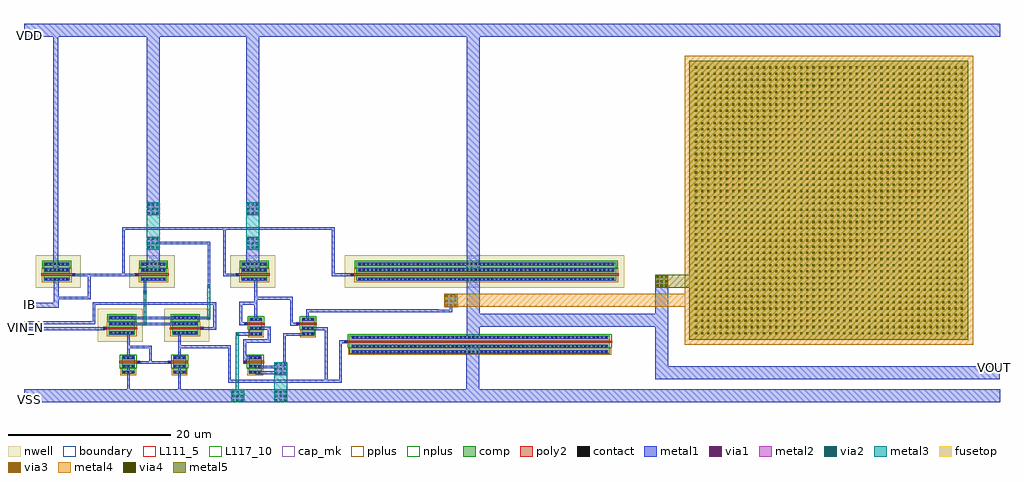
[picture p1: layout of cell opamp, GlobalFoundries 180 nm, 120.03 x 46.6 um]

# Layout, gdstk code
from math import pi, radians
import gdstk
lib = gdstk.Library(unit=1e-6, precision=1e-09)
def R(c, l, rs):  # rectangles x0, y0, x1, y1
    for r in rs: c.add(gdstk.rectangle(r[:2], r[2:], *l))
def A(c, l, x, y, w, h, nx, ny, dx, dy):  # array of equal rectangles
    R(c, l, [(x+i*dx, y+j*dy, x+i*dx+w, y+j*dy+h) for i in range(nx) for j in range(ny)])
def P(c, l, *ps):  # polygons
    for p in ps: c.add(gdstk.Polygon(p, *l))
boundary = (0, 0)
nwell = (21, 0)
comp = (22, 0)
poly2 = (30, 0)
pplus = (31, 0)
nplus = (32, 0)
contact = (33, 0)
metal1 = (34, 0)
via1 = (35, 0)
metal2 = (36, 0)
via2 = (38, 0)
via3 = (40, 0)
via4 = (41, 0)
metal3 = (42, 0)
metal4 = (46, 0)
fusetop = (75, 0)
metal5 = (81, 0)
L111_5 = (111, 5)
cap_mk = (117, 5)
L117_10 = (117, 10)

cap_mim = lib.new_cell('cap_mim')
A(cap_mim, via4, 0.69, 0.69, 0.26, 0.26, 44, 44, 0.76, 0.76)
R(cap_mim, metal4, [(-0.6,-0.6,34.92,34.92)])
R(cap_mim, fusetop, [(0,0,34.32,34.32)])
R(cap_mim, metal5, [(0,0,34.32,34.32)])
R(cap_mim, cap_mk, [(-0.6,-0.6,34.92,34.92)])
R(cap_mim, L117_10, [(0,0,34.32,0.1)])

nfet_8 = lib.new_cell('nfet$8')
R(nfet_8, comp, [(-0.42,0,1.79,1.6)])
P(nfet_8, poly2, [(0.19,-0.3),(0.19,1.9),(0.15,1.9),(0.15,2.26),(0.51,2.26),(0.51,1.9),(0.47,1.9),(0.47,-0.3)])
R(nfet_8, pplus, [(1.08,-0.17,1.96,1.77)])
R(nfet_8, nplus, [(-0.59,-0.24,1.08,1.84)])
A(nfet_8, contact, -0.32, 0.18, 0.22, 0.22, 1, 3, 0, 0.51)
A(nfet_8, contact, 0.76, 0.18, 0.22, 0.22, 1, 3, 0, 0.51)
A(nfet_8, contact, 1.47, 0.18, 0.22, 0.22, 1, 3, 0, 0.51)
R(nfet_8, contact, [(0.22,1.97,0.44,2.19)])
R(nfet_8, metal1, [(-0.4,0.1,-0.02,1.5), (0.68,0.1,1.06,1.5), (1.39,0.1,1.77,1.5), (0.14,1.89,0.52,2.27)])

nfet_9 = lib.new_cell('nfet$9')
R(nfet_9, comp, [(-0.42,0,1.79,1.6)])
P(nfet_9, poly2, [(0.15,-0.66),(0.15,-0.3),(0.19,-0.3),(0.19,1.9),(0.47,1.9),(0.47,-0.3),(0.51,-0.3),(0.51,-0.66)])
R(nfet_9, pplus, [(1.08,-0.17,1.96,1.77)])
R(nfet_9, nplus, [(-0.59,-0.24,1.08,1.84)])
A(nfet_9, contact, -0.32, 0.18, 0.22, 0.22, 1, 3, 0, 0.51)
A(nfet_9, contact, 0.76, 0.18, 0.22, 0.22, 1, 3, 0, 0.51)
A(nfet_9, contact, 1.47, 0.18, 0.22, 0.22, 1, 3, 0, 0.51)
R(nfet_9, contact, [(0.22,-0.59,0.44,-0.37)])
R(nfet_9, metal1, [(0.14,-0.67,0.52,-0.29), (-0.4,0.1,-0.02,1.5), (0.68,0.1,1.06,1.5), (1.39,0.1,1.77,1.5)])

pfet_11 = lib.new_cell('pfet$11')
R(pfet_11, nwell, [(-1.32,-0.99,2.71,4.57)])
R(pfet_11, comp, [(-0.46,0,1.85,3.2)])
P(pfet_11, poly2, [(0.19,-0.3),(0.19,3.5),(0.14,3.5),(0.14,3.88),(0.52,3.88),(0.52,3.5),(0.47,3.5),(0.47,-0.3)])
R(pfet_11, pplus, [(-0.63,-0.24,1.12,3.44)])
R(pfet_11, nplus, [(1.12,-0.17,2.02,3.37)])
A(pfet_11, contact, -0.34, 0.215, 0.22, 0.22, 1, 6, 0, 0.51)
A(pfet_11, contact, 0.78, 0.215, 0.22, 0.22, 1, 6, 0, 0.51)
A(pfet_11, contact, 1.51, 0.215, 0.22, 0.22, 1, 6, 0, 0.51)
R(pfet_11, contact, [(0.22,3.58,0.44,3.8)])
R(pfet_11, metal1, [(-0.42,0.135,-0.04,3.065), (0.7,0.135,1.08,3.065), (1.43,0.135,1.81,3.065), (0.14,3.5,0.52,3.88)])

pfet_12 = lib.new_cell('pfet$12')
R(pfet_12, nwell, [(-1.32,-1.37,2.71,4.19)])
R(pfet_12, comp, [(-0.46,0,1.85,3.2)])
P(pfet_12, poly2, [(0.14,-0.68),(0.14,-0.3),(0.19,-0.3),(0.19,3.5),(0.47,3.5),(0.47,-0.3),(0.52,-0.3),(0.52,-0.68)])
R(pfet_12, pplus, [(-0.63,-0.24,1.12,3.44)])
R(pfet_12, nplus, [(1.12,-0.17,2.02,3.37)])
A(pfet_12, contact, -0.34, 0.215, 0.22, 0.22, 1, 6, 0, 0.51)
A(pfet_12, contact, 0.78, 0.215, 0.22, 0.22, 1, 6, 0, 0.51)
A(pfet_12, contact, 1.51, 0.215, 0.22, 0.22, 1, 6, 0, 0.51)
R(pfet_12, contact, [(0.22,-0.6,0.44,-0.38)])
R(pfet_12, metal1, [(0.14,-0.68,0.52,-0.3), (-0.42,0.135,-0.04,3.065), (0.7,0.135,1.08,3.065), (1.43,0.135,1.81,3.065)])

nfet_10 = lib.new_cell('nfet$10')
R(nfet_10, comp, [(-0.42,0,1.79,32)])
P(nfet_10, poly2, [(0.15,-0.66),(0.15,-0.3),(0.19,-0.3),(0.19,32.3),(0.47,32.3),(0.47,-0.3),(0.51,-0.3),(0.51,-0.66)])
R(nfet_10, pplus, [(1.08,-0.17,1.96,32.17)])
R(nfet_10, nplus, [(-0.59,-0.24,1.08,32.24)])
A(nfet_10, contact, -0.32, 0.335, 0.22, 0.22, 1, 62, 0, 0.51)
A(nfet_10, contact, 0.76, 0.335, 0.22, 0.22, 1, 62, 0, 0.51)
A(nfet_10, contact, 1.47, 0.335, 0.22, 0.22, 1, 62, 0, 0.51)
R(nfet_10, contact, [(0.22,-0.59,0.44,-0.37)])
R(nfet_10, metal1, [(0.14,-0.67,0.52,-0.29), (-0.4,0.255,-0.02,31.745), (0.68,0.255,1.06,31.745), (1.39,0.255,1.77,31.745)])

pfet_13 = lib.new_cell('pfet$13')
R(pfet_13, nwell, [(-1.32,-0.99,2.71,33.37)])
R(pfet_13, comp, [(-0.46,0,1.85,32)])
P(pfet_13, poly2, [(0.19,-0.3),(0.19,32.3),(0.14,32.3),(0.14,32.68),(0.52,32.68),(0.52,32.3),(0.47,32.3),(0.47,-0.3)])
R(pfet_13, pplus, [(-0.63,-0.24,1.12,32.24)])
R(pfet_13, nplus, [(1.12,-0.17,2.02,32.17)])
A(pfet_13, contact, -0.34, 0.335, 0.22, 0.22, 1, 62, 0, 0.51)
A(pfet_13, contact, 0.78, 0.335, 0.22, 0.22, 1, 62, 0, 0.51)
A(pfet_13, contact, 1.51, 0.335, 0.22, 0.22, 1, 62, 0, 0.51)
R(pfet_13, contact, [(0.22,32.38,0.44,32.6)])
R(pfet_13, metal1, [(-0.42,0.255,-0.04,31.745), (0.7,0.255,1.08,31.745), (1.43,0.255,1.81,31.745), (0.14,32.3,0.52,32.68)])

via_dev_2 = lib.new_cell('via_dev$2')
R(via_dev_2, metal1, [(0,0,0.4,0.4)])
R(via_dev_2, via1, [(0.07,0.07,0.33,0.33)])
R(via_dev_2, metal2, [(0,0,0.4,0.4)])
R(via_dev_2, via2, [(0.07,0.07,0.33,0.33)])
R(via_dev_2, metal3, [(0,0,0.4,0.4)])

via_dev_3 = lib.new_cell('via_dev$3')
R(via_dev_3, metal1, [(0,0,1.6,1.6)])
A(via_dev_3, via1, 0.14, 0.14, 0.26, 0.26, 3, 3, 0.53, 0.53)
R(via_dev_3, metal2, [(0,0,1.6,1.6)])
A(via_dev_3, via2, 0.14, 0.14, 0.26, 0.26, 3, 3, 0.53, 0.53)
R(via_dev_3, metal3, [(0,0,1.6,1.6)])

via_dev_7 = lib.new_cell('via_dev$7')
R(via_dev_7, metal1, [(0,0,1.6,1.6)])
A(via_dev_7, via1, 0.14, 0.14, 0.26, 0.26, 3, 3, 0.53, 0.53)
R(via_dev_7, metal2, [(0,0,1.6,1.6)])
A(via_dev_7, via2, 0.14, 0.14, 0.26, 0.26, 3, 3, 0.53, 0.53)
A(via_dev_7, via3, 0.14, 0.14, 0.26, 0.26, 3, 3, 0.53, 0.53)
R(via_dev_7, metal3, [(0,0,1.6,1.6)])
R(via_dev_7, metal4, [(0,0,1.6,1.6)])

via_dev_8 = lib.new_cell('via_dev$8')
R(via_dev_8, metal1, [(0,0,1.6,1.6)])
A(via_dev_8, via1, 0.14, 0.14, 0.26, 0.26, 3, 3, 0.53, 0.53)
R(via_dev_8, metal2, [(0,0,1.6,1.6)])
A(via_dev_8, via2, 0.14, 0.14, 0.26, 0.26, 3, 3, 0.53, 0.53)
A(via_dev_8, via3, 0.14, 0.14, 0.26, 0.26, 3, 3, 0.53, 0.53)
A(via_dev_8, via4, 0.14, 0.14, 0.26, 0.26, 3, 3, 0.53, 0.53)
R(via_dev_8, metal3, [(0,0,1.6,1.6)])
R(via_dev_8, metal4, [(0,0,1.6,1.6)])
R(via_dev_8, metal5, [(0,0,1.6,1.6)])

opamp = lib.new_cell('opamp')
P(opamp, boundary, [(-0.03,-0.14),(-0.03,-0.14),(-0.03,-0.14),(-0.03,-0.14)])
R(opamp, L111_5, [(81.2,6.3,116.72,41.82)])
opamp.add(gdstk.FlexPath([(19.01,6.06),(25.23,6.06),(25.23,1.81),(38.89,1.81),(38.89,6.66),(39.57,6.66)], 0.33, ends="flush", simple_path=True, layer=34, datatype=0))  # metal1
opamp.add(gdstk.FlexPath([(24.6,20.6),(38,20.6),(38,14.9),(40.3,14.9)], 0.33, ends="flush", simple_path=True, layer=34, datatype=0))  # metal1
opamp.add(gdstk.FlexPath([(29.01,8.33),(30.13,8.33),(30.13,6.76),(27.12,6.76),(27.12,4.17)], 0.38, ends="flush", simple_path=True, layer=34, datatype=0))  # metal1
opamp.add(gdstk.FlexPath([(27.89,4.71),(27.12,4.71)], 0.38, ends="flush", simple_path=True, layer=34, datatype=0))  # metal1
opamp.add(gdstk.FlexPath([(27.22,8.87),(26.62,8.87),(26.62,11.4),(28.46,11.4)], 0.38, ends="flush", simple_path=True, layer=34, datatype=0))  # metal1
opamp.add(gdstk.FlexPath([(27.99,7.62),(26.21,7.62)], 0.38, ends="flush", simple_path=True, layer=34, datatype=0))  # metal1
opamp.add(gdstk.FlexPath([(34.84,9.22),(34.84,10.47),(51,10.47)], 0.33, ends="flush", simple_path=True, layer=34, datatype=0))  # metal1
opamp.add(gdstk.FlexPath([(50.87,10.46),(52.49,10.46),(52.49,11.61)], 0.33, ends="flush", simple_path=True, layer=34, datatype=0))  # metal1
opamp.add(gdstk.FlexPath([(15.84,18.8),(15.84,15.43)], 1.6, ends="flush", simple_path=True, layer=34, datatype=0))  # metal1
opamp.add(gdstk.FlexPath([(15.84,22.99),(15.84,45.01)], 1.6, ends="flush", simple_path=True, layer=34, datatype=0))  # metal1
opamp.add(gdstk.FlexPath([(28.08,22.99),(28.08,45.01)], 1.6, ends="flush", simple_path=True, layer=34, datatype=0))  # metal1
opamp.add(gdstk.FlexPath([(55.19,15.44),(55.19,45.03)], 1.6, ends="flush", simple_path=True, layer=34, datatype=0))  # metal1
opamp.add(gdstk.FlexPath([(55.17,6.11),(55.17,-0.04)], 1.6, ends="flush", simple_path=True, layer=34, datatype=0))  # metal1
opamp.add(gdstk.FlexPath([(55.19,14.31),(55.19,7.2)], 1.6, ends="flush", simple_path=True, layer=34, datatype=0))  # metal1
opamp.add(gdstk.FlexPath([(55.19,9.3),(78.43,9.3),(78.43,2.86),(119.99,2.86)], 1.6, ends="flush", simple_path=True, layer=34, datatype=0))  # metal1
opamp.add(gdstk.FlexPath([(78.42,8.8),(78.42,14.1)], 1.6, ends="flush", simple_path=True, layer=34, datatype=0))  # metal1
opamp.add(gdstk.FlexPath([(28.09,18.24),(28.09,15.46)], 1.6, ends="flush", simple_path=True, layer=34, datatype=0))  # metal1
opamp.add(gdstk.FlexPath([(13.29,9.58),(22.7,9.58)], 0.33, ends="flush", simple_path=True, layer=34, datatype=0))  # metal1
opamp.add(gdstk.FlexPath([(22.74,13.41),(22.74,18.81),(15.8,18.81)], 0.33, ends="flush", simple_path=True, layer=34, datatype=0))  # metal1
opamp.add(gdstk.FlexPath([(28.45,3.565),(31.21,3.565)], 0.33, ends="flush", simple_path=True, layer=34, datatype=0))  # metal1
opamp.add(gdstk.FlexPath([(28.46,2.85),(31.24,2.85)], 0.33, ends="flush", simple_path=True, layer=34, datatype=0))  # metal1
opamp.add(gdstk.FlexPath([(28.46,9.35),(28.46,14.33)], 0.33, ends="flush", simple_path=True, layer=34, datatype=0))  # metal1
opamp.add(gdstk.FlexPath([(28.48,12.01),(32.86,12.01),(32.86,8.82),(33.65,8.82)], 0.33, ends="flush", simple_path=True, layer=34, datatype=0))  # metal1
opamp.add(gdstk.FlexPath([(12.19,14.92),(12.19,20.59),(24.61,20.59),(24.61,14.86),(26.2,14.86)], 0.33, ends="flush", simple_path=True, layer=34, datatype=0))  # metal1
opamp.add(gdstk.FlexPath([(34.38,7.54),(32,7.54),(32,3.8)], 0.33, ends="flush", simple_path=True, layer=34, datatype=0))  # metal1
opamp.add(gdstk.FlexPath([(35.38,8.27),(37.15,8.27),(37.15,1.74)], 0.33, ends="flush", simple_path=True, layer=34, datatype=0))  # metal1
opamp.add(gdstk.FlexPath([(3.89,15.43),(3.89,44.98)], 0.6, ends="flush", simple_path=True, layer=34, datatype=0))  # metal1
opamp.add(gdstk.FlexPath([(3.93,14.33),(3.93,11.16),(0,11.16)], 0.6, ends="flush", simple_path=True, layer=34, datatype=0))  # metal1
opamp.add(gdstk.FlexPath([(0,0),(120,0)], 1.6, ends="flush", simple_path=True, layer=34, datatype=0))  # metal1
opamp.add(gdstk.FlexPath([(0,45),(120,45)], 1.6, ends="flush", simple_path=True, layer=34, datatype=0))  # metal1
opamp.add(gdstk.FlexPath([(13.84,14.89),(6.01,14.89)], 0.33, ends="flush", simple_path=True, layer=34, datatype=0))  # metal1
opamp.add(gdstk.FlexPath([(21.86,8.29),(23.43,8.29),(23.43,11.38),(8.59,11.38),(8.59,9.01),(0,9.01)], 0.33, ends="flush", simple_path=True, layer=34, datatype=0))  # metal1
opamp.add(gdstk.FlexPath([(13.19,8.85),(18.54,8.85)], 0.33, ends="flush", simple_path=True, layer=34, datatype=0))  # metal1
opamp.add(gdstk.FlexPath([(3.93,12.04),(7.99,12.04),(7.99,14.87)], 0.33, ends="flush", simple_path=True, layer=34, datatype=0))  # metal1
opamp.add(gdstk.FlexPath([(12.84,7.72),(12.84,4.65)], 0.33, ends="flush", simple_path=True, layer=34, datatype=0))  # metal1
opamp.add(gdstk.FlexPath([(19.09,4.66),(19.09,7.69)], 0.33, ends="flush", simple_path=True, layer=34, datatype=0))  # metal1
opamp.add(gdstk.FlexPath([(12.83,3.57),(12.83,-0.04)], 0.33, ends="flush", simple_path=True, layer=34, datatype=0))  # metal1
opamp.add(gdstk.FlexPath([(19.09,3.52),(19.09,0.02)], 0.33, ends="flush", simple_path=True, layer=34, datatype=0))  # metal1
opamp.add(gdstk.FlexPath([(14.12,4.12),(17.81,4.12)], 0.33, ends="flush", simple_path=True, layer=34, datatype=0))  # metal1
opamp.add(gdstk.FlexPath([(12.82,6.01),(15.52,6.01),(15.52,4.12)], 0.33, ends="flush", simple_path=True, layer=34, datatype=0))  # metal1
opamp.add(gdstk.FlexPath([(9.87,8.26),(0,8.26)], 0.33, ends="flush", simple_path=True, layer=34, datatype=0))  # metal1
opamp.add(gdstk.FlexPath([(14.86,12.77),(14.86,14.33)], 0.33, ends="flush", simple_path=True, layer=34, datatype=0))  # metal1
opamp.add(gdstk.FlexPath([(26.21,7.61),(26.21,0)], 0.4, ends="flush", simple_path=True, layer=42, datatype=0))  # metal3
opamp.add(gdstk.FlexPath([(15.84,18.8),(15.84,23.11)], 1.6, ends="flush", simple_path=True, layer=42, datatype=0))  # metal3
opamp.add(gdstk.FlexPath([(28.08,18.8),(28.08,23.11)], 1.6, ends="flush", simple_path=True, layer=42, datatype=0))  # metal3
opamp.add(gdstk.FlexPath([(22.69,13.47),(22.69,9.51)], 0.33, ends="flush", simple_path=True, layer=42, datatype=0))  # metal3
opamp.add(gdstk.FlexPath([(31.54,-0.03),(31.54,3.48)], 1.6, ends="flush", simple_path=True, layer=42, datatype=0))  # metal3
opamp.add(gdstk.FlexPath([(14.86,12.8),(14.86,8.84)], 0.33, ends="flush", simple_path=True, layer=42, datatype=0))  # metal3
opamp.add(gdstk.FlexPath([(83,11.74),(51.67,11.74)], 1.6, ends="flush", simple_path=True, layer=46, datatype=0))  # metal4
opamp.add(gdstk.FlexPath([(78.41,14.09),(83,14.09)], 1.6, ends="flush", simple_path=True, layer=81, datatype=0))  # metal5
opamp.add(gdstk.Reference(cap_mim, (81.8,6.9)))
opamp.add(gdstk.Reference(nfet_8, (12,4.5), rotation=3*pi/2))
opamp.add(gdstk.Reference(nfet_9, (18.3,4.5), rotation=3*pi/2))
opamp.add(gdstk.Reference(pfet_11, (13.6,8), rotation=pi/2))
opamp.add(gdstk.Reference(pfet_12, (21.4,8), rotation=pi/2))
opamp.add(gdstk.Reference(nfet_9, (27.6,4.5), rotation=3*pi/2))
opamp.add(gdstk.Reference(nfet_9, (27.7,9.2), rotation=3*pi/2))
opamp.add(gdstk.Reference(nfet_9, (34.1,9.2), rotation=3*pi/2))
opamp.add(gdstk.Reference(nfet_10, (40,7), rotation=3*pi/2))
opamp.add(gdstk.Reference(pfet_13, (72.8,14.6), rotation=pi/2))
opamp.add(gdstk.Reference(pfet_12, (5.6,14.6), rotation=pi/2))
opamp.add(gdstk.Reference(pfet_11, (17.5,14.6), rotation=pi/2))
opamp.add(gdstk.Reference(pfet_11, (29.9,14.6), rotation=pi/2))
opamp.add(gdstk.Reference(via_dev_2, (14.66,8.68)))
opamp.add(gdstk.Reference(via_dev_2, (14.66,12.58)))
opamp.add(gdstk.Reference(via_dev_3, (30.74,-0.8)))
opamp.add(gdstk.Reference(via_dev_3, (30.73,2.54)))
opamp.add(gdstk.Reference(via_dev_3, (15.04,18)))
opamp.add(gdstk.Reference(via_dev_3, (15.04,22.21)))
opamp.add(gdstk.Reference(via_dev_3, (27.28,18)))
opamp.add(gdstk.Reference(via_dev_3, (27.28,22.21)))
opamp.add(gdstk.Reference(via_dev_7, (51.69,10.92)))
opamp.add(gdstk.Reference(via_dev_8, (77.62,13.32)))
opamp.add(gdstk.Reference(via_dev_2, (22.49,9.35)))
opamp.add(gdstk.Reference(via_dev_2, (22.49,13.25)))
opamp.add(gdstk.Reference(via_dev_2, (26.01,7.41)))
opamp.add(gdstk.Reference(via_dev_3, (25.43,-0.8)))
opamp.add(gdstk.Label('IB', (0.677,11.197), layer=34, texttype=10))
opamp.add(gdstk.Label('VOUT', (119.36,3.44), layer=34, texttype=10))
opamp.add(gdstk.Label('VIN_N', (0.13,8.37), layer=34, texttype=10))
opamp.add(gdstk.Label('VIN_P', (0.13,9.14), layer=34, texttype=10))
opamp.add(gdstk.Label('VSS', (0.68,-0.43), layer=34, texttype=10))
opamp.add(gdstk.Label('VDD', (0.68,44.38), layer=34, texttype=10))
opamp.add(gdstk.Label('VSS', (0.68,-0.43), layer=34, texttype=10))

lib.write_gds('opamp.gds')
